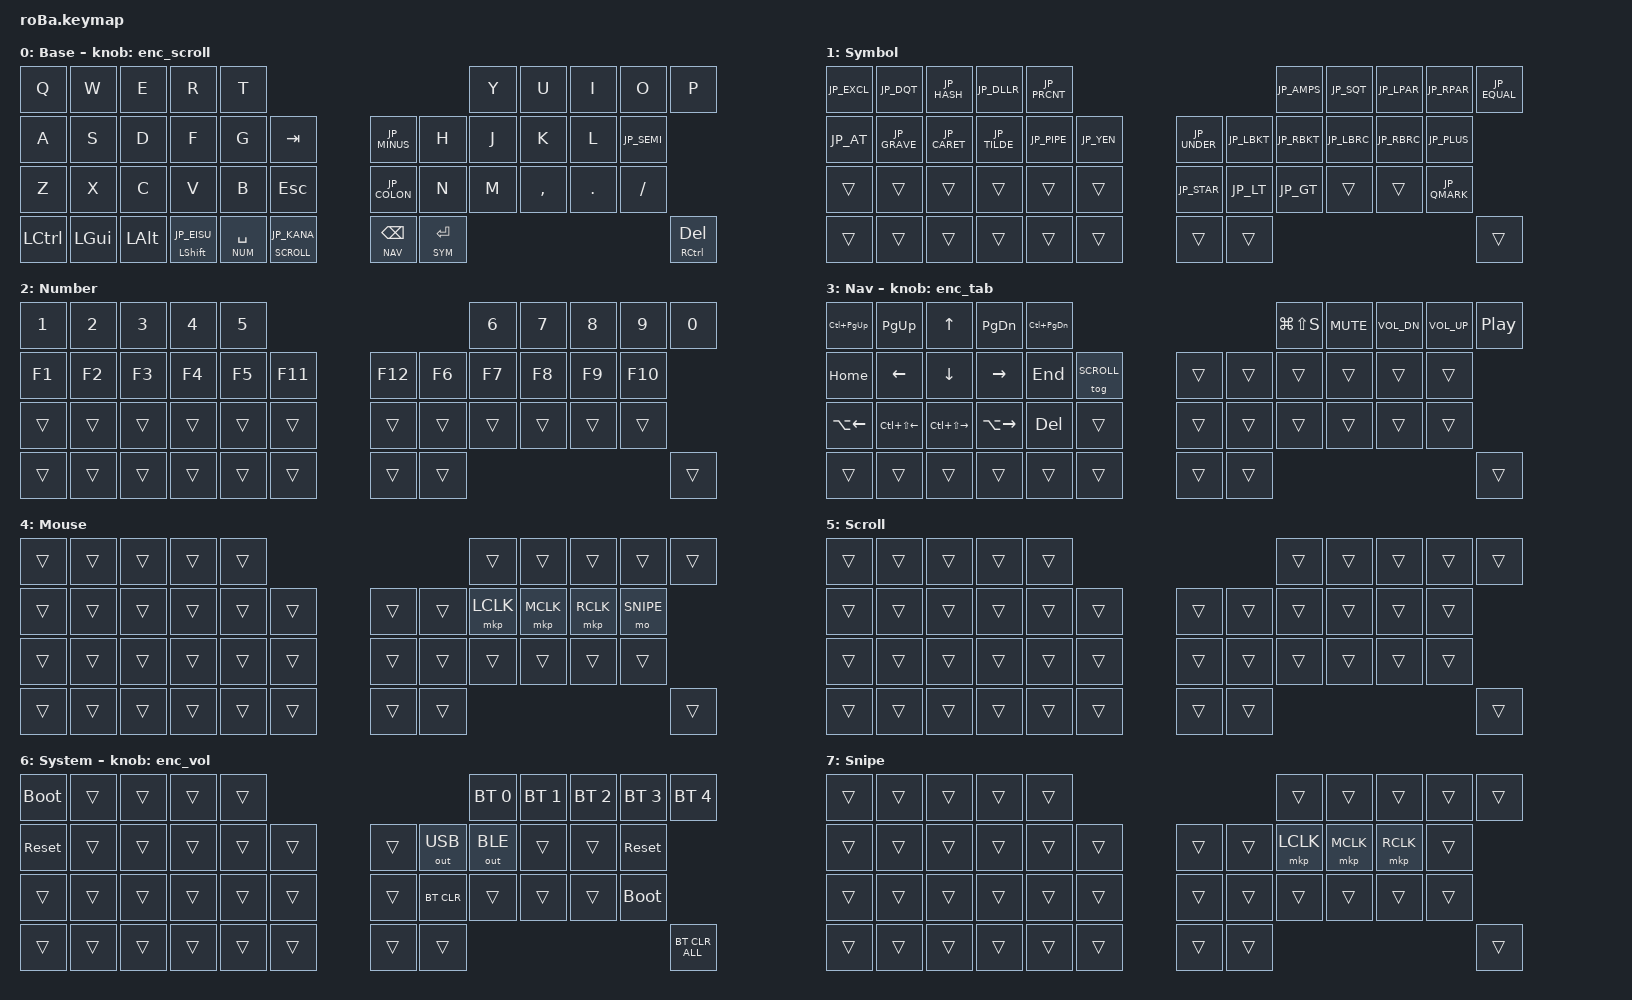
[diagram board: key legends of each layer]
/*
 * roBa keymap — 普段のキーボードと同じ QWERTY / 日本語配列(JIS)の Windows 用
 * ZMK v0.3
 *
 * 方針：覚えることを最小にする
 *  - 文字の並びは普段のキーボードと同じ（QWERTY）
 *  - 左下は Ctrl / Win / Alt の順（普段と同じ）。Ctrl+C は左小指＋中指
 *  - 親指は 英数・Space・かな（普段の 無変換・Space・変換 と同じ並び）
 *  - 記号は「Shift+数字」と同じ並び、Fキーは数字の真下
 *  - PC の設定は変えなくてよい（記号は keys_jp.h で日本語配列向けに読み替え）
 *
 * キー位置番号（excluded-positions 等で使う）
 *
 *   0  1  2  3  4                    5  6  7  8  9
 *  10 11 12 13 14 15            16 17 18 19 20 21
 *  22 23 24 25 26 27            28 29 30 31 32 33
 *  34 35 36  37 38 39       40 41                42
 *  └左下段┘ └左親指┘       └右親指┘           右下
 *
 *  15/27・16/28 は人差し指で届く内側の列。トラックボールは右親指で操作。
 */

#include <behaviors.dtsi>
#include <dt-bindings/zmk/bt.h>
#include <dt-bindings/zmk/keys.h>
#include <dt-bindings/zmk/outputs.h>
#include <dt-bindings/zmk/pointing.h>
#include <dt-bindings/zmk/input_transform.h>
#include <input/processors.dtsi>
#include "keys_jp.h"

#define BASE   0
#define SYM    1
#define NUM    2
#define NAV    3
#define MOUSE  4
#define SCROLL 5
#define SYS    6
#define SNIPE  7

/* ------------------------------------------------------------------ */
/* 長押し兼用キーの挙動                                                 */
/* ------------------------------------------------------------------ */

/* 英数/Shift・Del/Ctrl … タップと長押しを両立 */
&mt {
    flavor = "balanced";
    tapping-term-ms = <200>;
    quick-tap-ms = <200>;      /* タップ直後にもう一度押しっぱなし → キーリピート */
};

/* BS/NAV・Enter/SYM */
&lt {
    flavor = "balanced";
    tapping-term-ms = <200>;
    quick-tap-ms = <200>;           /* BS長押しで連続削除できるようにする */
    require-prior-idle-ms = <125>;  /* 文字の直後のBS/Enterは必ずBS/Enter */
};

/ {
    behaviors {
        /* Space/NUM … 最頻キーなので誤爆対策を強めに */
        lt_spc: lt_spc {
            compatible = "zmk,behavior-hold-tap";
            #binding-cells = <2>;
            bindings = <&mo>, <&kp>;
            flavor = "balanced";
            tapping-term-ms = <200>;
            quick-tap-ms = <200>;
            require-prior-idle-ms = <150>;  /* 文字の直後150ms以内のSpaceは必ず「Space」 */
        };

        /* かな/SCROLL … 左親指で押さえながら右親指でボール → スクロール */
        lt_scr: lt_scr {
            compatible = "zmk,behavior-hold-tap";
            #binding-cells = <2>;
            bindings = <&mo>, <&kp>;
            flavor = "balanced";
            tapping-term-ms = <150>;        /* スクロールの立ち上がりを少し速く */
            quick-tap-ms = <200>;
        };

        /* エンコーダー：回すとマウスホイール（1クリックで1段） */
        enc_scroll: enc_scroll {
            compatible = "zmk,behavior-sensor-rotate";
            #sensor-binding-cells = <0>;
            bindings = <&msc MOVE_Y(80)>, <&msc MOVE_Y(-80)>;
            tap-ms = <30>;   /* &msc は押している間だけ回るので、短すぎると1段も出ない */
        };

        /* エンコーダー（NAV中）：タブ切替 */
        enc_tab: enc_tab {
            compatible = "zmk,behavior-sensor-rotate";
            #sensor-binding-cells = <0>;
            bindings = <&kp LC(PG_UP)>, <&kp LC(PG_DN)>;
        };

        /* エンコーダー（SYS中）：音量 */
        enc_vol: enc_vol {
            compatible = "zmk,behavior-sensor-rotate";
            #sensor-binding-cells = <0>;
            bindings = <&kp C_VOL_UP>, <&kp C_VOL_DN>;
        };
    };

    /* Space(NUM) と Enter(SYM) を同時に押さえると SYS（Bluetooth等） */
    conditional_layers {
        compatible = "zmk,conditional-layers";
        tri_layer {
            if-layers = <SYM NUM>;
            then-layer = <SYS>;
        };
    };
};

/* ------------------------------------------------------------------ */
/* トラックボール                                                       */
/* ------------------------------------------------------------------ */

/* 横スクロールだけ弱める（縦スクロール中に横へ流れるのを防ぐ） */
/ {
    zip_hwheel_damp: zip_hwheel_damp {
        compatible = "zmk,input-processor-scaler";
        #input-processor-cells = <2>;
        type = <INPUT_EV_REL>;
        codes = <INPUT_REL_HWHEEL>;
        track-remainders;
    };
};

/* マウス自動レイヤー：ボールを動かすと MOUSE が乗り、J K L がクリックになる */
&zip_temp_layer {
    /* 打鍵後200msはボールに触れてもMOUSEに入らない（タイプ中の誤クリック防止） */
    require-prior-idle-ms = <200>;
    /* MOUSE中に押してもMOUSEが解除されないキー
     *  15 27     … Tab / Esc（Blender でクリック→Tab→クリック、Esc→クリック）
     *  18-20     … 左/中/右クリック（J・K・L）
     *  21        … 精密（; を押さえている間）
     *  34-37     … Ctrl Win Alt Shift（Ctrl+クリック、Shift+中ドラッグ等）
     *  39        … かな/スクロール
     *  42        … Del/右Ctrl
     * これ以外のキーを押すと即MOUSEが解除され、普通に文字が打てる。
     * ボールを止めて0.6秒以内に J K L ; を打つとクリック/精密になる点だけ注意 */
    excluded-positions = <15 18 19 20 21 27 34 35 36 37 39 42>;
};

&trackball_listener {
    /* 通常：動かすと MOUSE を 600ms 有効にする */
    input-processors = <&zip_temp_layer MOUSE 600>;

    /* SCROLL 中：ボール → ホイール */
    scroller {
        layers = <SCROLL>;
        input-processors =
            <&zip_xy_to_scroll_mapper>,
            /* ボールを奥へ転がす＝上スクロール（逆が好みなら次の行を消す） */
            <&zip_scroll_transform INPUT_TRANSFORM_Y_INVERT>,
            /* スクロール量（分母を大きくすると遅くなる） */
            <&zip_scroll_scaler 1 16>,
            /* 横スクロールはさらに半分 */
            <&zip_hwheel_damp 1 2>;
    };

    /* SNIPE 中：カーソルを1/4速に（精密操作） */
    snipe {
        layers = <SNIPE>;
        input-processors = <&zip_xy_scaler 1 4>;
        process-next;   /* MOUSE レイヤーの維持も続ける */
    };
};

/* ------------------------------------------------------------------ */
/* キーマップ                                                           */
/* ------------------------------------------------------------------ */

/ {
    keymap {
        compatible = "zmk,keymap";

        /* L0 基本（普段のキーボードと同じ並び）
         *  Q   W   E   R   T                   Y   U   I   O   P
         *  A   S   D   F   G  Tab           -  H   J   K   L   ;
         *  Z   X   C   V   B  Esc           :  N   M   ,   .   /
         * Ctl Win Alt 英数 Spc かな    BS Ent              Del
         *            /Sft /数字 /ｽｸﾛｰﾙ /ﾅﾋﾞ /記号          /Ctl
         */
        base_layer {
            display-name = "Base";
            bindings = <
&kp Q      &kp W     &kp E     &kp R                 &kp T                                                                                 &kp Y    &kp U  &kp I      &kp O    &kp P
&kp A      &kp S     &kp D     &kp F                 &kp G                &kp TAB                   &kp JP_MINUS    &kp H                  &kp J    &kp K  &kp L      &kp JP_SEMI
&kp Z      &kp X     &kp C     &kp V                 &kp B                &kp ESC                   &kp JP_COLON    &kp N                  &kp M    &kp COMMA  &kp DOT  &kp FSLH
&kp LCTRL  &kp LGUI  &kp LALT  &mt LSHIFT JP_EISU    &lt_spc NUM SPACE    &lt_scr SCROLL JP_KANA    &lt NAV BSPC    &lt SYM RET                                                    &mt RCTRL DEL
            >;
            sensor-bindings = <&enc_scroll>;
        };

        /* L1 記号（Enter長押し）
         * 上の段は「Shift+数字」と同じ並び（Q=! W=" … O=)）
         *  !   "   #   $   %                   &   '   (   )   =
         *  @   `   ^   ~   |   \           _   [   ]   {   }   +
         *  ·   ·   ·   ·   ·   ·           *   <   >   ·   ·   ?
         */
        sym_layer {
            display-name = "Symbol";
            bindings = <
&kp JP_EXCL  &kp JP_DQT    &kp JP_HASH   &kp JP_DLLR   &kp JP_PRCNT                                 &kp JP_AMPS   &kp JP_SQT   &kp JP_LPAR  &kp JP_RPAR  &kp JP_EQUAL
&kp JP_AT    &kp JP_GRAVE  &kp JP_CARET  &kp JP_TILDE  &kp JP_PIPE   &kp JP_YEN      &kp JP_UNDER   &kp JP_LBKT   &kp JP_RBKT  &kp JP_LBRC  &kp JP_RBRC  &kp JP_PLUS
&trans       &trans        &trans        &trans        &trans        &trans          &kp JP_STAR    &kp JP_LT     &kp JP_GT    &trans       &trans       &kp JP_QMARK
&trans       &trans        &trans        &trans        &trans        &trans          &trans         &trans                                                &trans
            >;
        };

        /* L2 数字（Space長押し）
         * 上の段＝数字の段、その真下がFキー（F1 は 1 の下）
         *  1   2   3   4   5                   6   7   8   9   0
         * F1  F2  F3  F4  F5  F11        F12  F6  F7  F8  F9  F10
         */
        num_layer {
            display-name = "Number";
            bindings = <
&kp N1  &kp N2  &kp N3  &kp N4  &kp N5                            &kp N6  &kp N7  &kp N8  &kp N9  &kp N0
&kp F1  &kp F2  &kp F3  &kp F4  &kp F5  &kp F11         &kp F12   &kp F6  &kp F7  &kp F8  &kp F9  &kp F10
&trans  &trans  &trans  &trans  &trans  &trans          &trans    &trans  &trans  &trans  &trans  &trans
&trans  &trans  &trans  &trans  &trans  &trans          &trans    &trans                          &trans
            >;
        };

        /* L3 ナビ（BS長押し）左手で操作
         * タブ← PgUp  ↑  PgDn タブ→              ｽｸｼｮ ﾐｭｰﾄ Vol- Vol+ 再生
         * Home   ←    ↓   →   End ｽｸﾛｰﾙ固定
         * 戻る 単語← 単語→ 進む  Del
         */
        nav_layer {
            display-name = "Nav";
            bindings = <
&kp LC(PG_UP)  &kp PG_UP         &kp UP             &kp PG_DN       &kp LC(PG_DN)                           &kp LG(LS(S))  &kp C_MUTE  &kp C_VOL_DN  &kp C_VOL_UP  &kp C_PP
&kp HOME       &kp LEFT          &kp DOWN           &kp RIGHT       &kp END        &tog SCROLL     &trans   &trans         &trans      &trans        &trans        &trans
&kp LA(LEFT)   &kp LC(LS(LEFT))  &kp LC(LS(RIGHT))  &kp LA(RIGHT)   &kp DEL        &trans          &trans   &trans         &trans      &trans        &trans        &trans
&trans         &trans            &trans             &trans          &trans         &trans          &trans   &trans                                                 &trans
            >;
            sensor-bindings = <&enc_tab>;
        };

        /* L4 マウス（ボールを動かすと自動で有効、止めて0.6秒で戻る）
         * J K L = 左・中・右クリック（roBa の初期配置と同じ）
         * ; を押さえている間は精密（カーソル1/4速）
         */
        mouse_layer {
            display-name = "Mouse";
            bindings = <
&trans  &trans  &trans  &trans  &trans                      &trans  &trans     &trans     &trans     &trans
&trans  &trans  &trans  &trans  &trans  &trans      &trans  &trans  &mkp LCLK  &mkp MCLK  &mkp RCLK  &mo SNIPE
&trans  &trans  &trans  &trans  &trans  &trans      &trans  &trans  &trans     &trans     &trans     &trans
&trans  &trans  &trans  &trans  &trans  &trans      &trans  &trans                                   &trans
            >;
        };

        /* L5 スクロール（かな長押し中／ナビのスクロール固定中）
         * ボール＝ホイール。キーは全部素通り */
        scroll_layer {
            display-name = "Scroll";
            bindings = <
&trans  &trans  &trans  &trans  &trans                      &trans  &trans  &trans  &trans  &trans
&trans  &trans  &trans  &trans  &trans  &trans      &trans  &trans  &trans  &trans  &trans  &trans
&trans  &trans  &trans  &trans  &trans  &trans      &trans  &trans  &trans  &trans  &trans  &trans
&trans  &trans  &trans  &trans  &trans  &trans      &trans  &trans                          &trans
            >;
        };

        /* L6 システム（Space と Enter を両方長押し）
         * 書込  ·   ·   ·   ·                  BT1 BT2 BT3 BT4 BT5
         * 再起動 ·  ·   ·   ·   ·        ·  USB 無線  ·   ·  再起動
         *  ·    ·   ·   ·   ·   ·        ·  BT消  ·   ·   ·  書込
         *                                                  BT全消
         */
        sys_layer {
            display-name = "System";
            bindings = <
&bootloader  &trans  &trans  &trans  &trans                         &bt BT_SEL 0  &bt BT_SEL 1  &bt BT_SEL 2  &bt BT_SEL 3  &bt BT_SEL 4
&sys_reset   &trans  &trans  &trans  &trans  &trans        &trans   &out OUT_USB  &out OUT_BLE  &trans        &trans        &sys_reset
&trans       &trans  &trans  &trans  &trans  &trans        &trans   &bt BT_CLR    &trans        &trans        &trans        &bootloader
&trans       &trans  &trans  &trans  &trans  &trans        &trans   &trans                                                &bt BT_CLR_ALL
            >;
            sensor-bindings = <&enc_vol>;
        };

        /* L7 精密（マウス中に ; を長押し）カーソル1/4速。クリックはそのまま */
        snipe_layer {
            display-name = "Snipe";
            bindings = <
&trans  &trans  &trans  &trans  &trans                      &trans  &trans     &trans     &trans     &trans
&trans  &trans  &trans  &trans  &trans  &trans      &trans  &trans  &mkp LCLK  &mkp MCLK  &mkp RCLK  &trans
&trans  &trans  &trans  &trans  &trans  &trans      &trans  &trans  &trans     &trans     &trans     &trans
&trans  &trans  &trans  &trans  &trans  &trans      &trans  &trans                                   &trans
            >;
        };
    };
};
